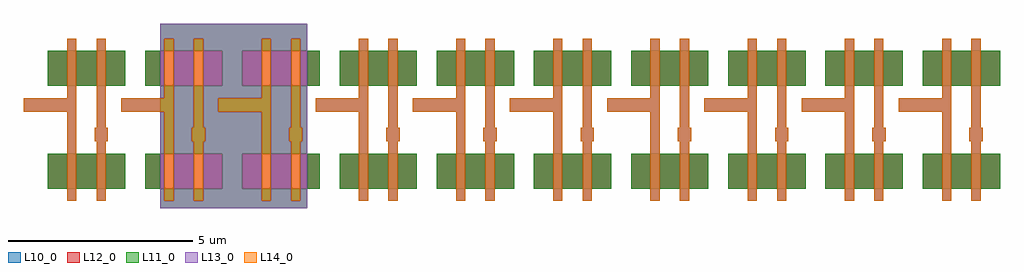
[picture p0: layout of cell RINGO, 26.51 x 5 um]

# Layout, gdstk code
import gdstk
lib = gdstk.Library(unit=1e-6, precision=1e-09)
def R(c, l, rs):  # rectangles x0, y0, x1, y1
    for r in rs: c.add(gdstk.rectangle(r[:2], r[2:], *l))
def A(c, l, x, y, w, h, nx, ny, dx, dy):  # array of equal rectangles
    R(c, l, [(x+i*dx, y+j*dy, x+i*dx+w, y+j*dy+h) for i in range(nx) for j in range(ny)])
def P(c, l, *ps):  # polygons
    for p in ps: c.add(gdstk.Polygon(p, *l))
L10_0 = (10, 0)
L11_0 = (11, 0)
L12_0 = (12, 0)
L13_0 = (13, 0)
L14_0 = (14, 0)

trans = lib.new_cell('TRANS')
R(trans, L10_0, [(-0.125,-0.8,0.125,-0.475), (-0.65,-0.475,-0.125,0.475), (0.125,-0.475,0.65,0.475), (-0.125,0.475,0.125,0.8)])
R(trans, L12_0, [(-0.65,-0.475,0.65,0.475)])
R(trans, L14_0, [(-0.125,-0.8,0.125,0.8)])

inv2 = lib.new_cell('INV2')
R(inv2, L10_0, [(-0.525,0.475,-0.275,2.25), (0.275,0.475,0.525,2.25), (0.22,0.82,0.58,1.18), (-1.7,1.62,-0.4,1.98)])
R(inv2, L14_0, [(-0.525,-0.25,-0.275,2.25), (0.275,-0.25,0.525,2.25), (0.22,0.82,0.58,1.18), (-1.7,1.62,-0.4,1.98)])
inv2.add(gdstk.Reference(trans, (-0.4,0)))
inv2.add(gdstk.Reference(trans, (-0.4,2.8)))
inv2.add(gdstk.Reference(trans, (0.4,0), x_reflection=True))
inv2.add(gdstk.Reference(trans, (0.4,2.8), x_reflection=True))

ringo = lib.new_cell('RINGO')
A(ringo, L11_0, 6.87, -0.475, 2.1, 0.95, 7, 2, 2.64, 2.8)
R(ringo, L11_0, [(-1.05,-0.475,1.05,0.475), (-1.05,2.325,1.05,3.275)])
P(ringo, L11_0, [(2,-1),(2,-0.475),(1.59,-0.475),(1.59,0.475),(2,0.475),(2,-0.475),(3.69,-0.475),(3.69,0.475),(4.23,0.475),(4.23,-0.475),(6,-0.475),(6,0.475),(2,0.475),(2,2.325),(1.59,2.325),(1.59,3.275),(2,3.275),(2,2.325),(3.69,2.325),(3.69,3.275),(4.23,3.275),(4.23,2.325),(6,2.325),(6,3.275),(2,3.275),(2,4),(6,4),(6,3.275),(6.33,3.275),(6.33,2.325),(6,2.325),(6,0.475),(6.33,0.475),(6.33,-0.475),(6,-0.475),(6,-1)])
P(ringo, L13_0, [(-0.525,-0.8),(-0.525,1.62),(-1.7,1.62),(-1.7,1.98),(-0.525,1.98),(-0.525,3.6),(-0.275,3.6),(-0.275,-0.8)],
  [(0.275,-0.8),(0.275,0.82),(0.22,0.82),(0.22,1.18),(0.275,1.18),(0.275,3.6),(0.525,3.6),(0.525,1.18),(0.58,1.18),(0.58,0.82),(0.525,0.82),(0.525,-0.8)],
  [(7.395,-0.8),(7.395,1.62),(6.22,1.62),(6.22,1.98),(7.395,1.98),(7.395,3.6),(7.645,3.6),(7.645,-0.8)],
  [(8.195,-0.8),(8.195,0.82),(8.14,0.82),(8.14,1.18),(8.195,1.18),(8.195,3.6),(8.445,3.6),(8.445,1.18),(8.5,1.18),(8.5,0.82),(8.445,0.82),(8.445,-0.8)],
  [(10.035,-0.8),(10.035,1.62),(8.86,1.62),(8.86,1.98),(10.035,1.98),(10.035,3.6),(10.285,3.6),(10.285,-0.8)],
  [(10.835,-0.8),(10.835,0.82),(10.78,0.82),(10.78,1.18),(10.835,1.18),(10.835,3.6),(11.085,3.6),(11.085,1.18),(11.14,1.18),(11.14,0.82),(11.085,0.82),(11.085,-0.8)],
  [(12.675,-0.8),(12.675,1.62),(11.5,1.62),(11.5,1.98),(12.675,1.98),(12.675,3.6),(12.925,3.6),(12.925,-0.8)],
  [(13.475,-0.8),(13.475,0.82),(13.42,0.82),(13.42,1.18),(13.475,1.18),(13.475,3.6),(13.725,3.6),(13.725,1.18),(13.78,1.18),(13.78,0.82),(13.725,0.82),(13.725,-0.8)],
  [(15.315,-0.8),(15.315,1.62),(14.14,1.62),(14.14,1.98),(15.315,1.98),(15.315,3.6),(15.565,3.6),(15.565,-0.8)],
  [(16.115,-0.8),(16.115,0.82),(16.06,0.82),(16.06,1.18),(16.115,1.18),(16.115,3.6),(16.365,3.6),(16.365,1.18),(16.42,1.18),(16.42,0.82),(16.365,0.82),(16.365,-0.8)],
  [(17.955,-0.8),(17.955,1.62),(16.78,1.62),(16.78,1.98),(17.955,1.98),(17.955,3.6),(18.205,3.6),(18.205,-0.8)],
  [(18.755,-0.8),(18.755,0.82),(18.7,0.82),(18.7,1.18),(18.755,1.18),(18.755,3.6),(19.005,3.6),(19.005,1.18),(19.06,1.18),(19.06,0.82),(19.005,0.82),(19.005,-0.8)],
  [(20.595,-0.8),(20.595,1.62),(19.42,1.62),(19.42,1.98),(20.595,1.98),(20.595,3.6),(20.845,3.6),(20.845,-0.8)],
  [(21.395,-0.8),(21.395,0.82),(21.34,0.82),(21.34,1.18),(21.395,1.18),(21.395,3.6),(21.645,3.6),(21.645,1.18),(21.7,1.18),(21.7,0.82),(21.645,0.82),(21.645,-0.8)],
  [(23.235,-0.8),(23.235,1.62),(22.06,1.62),(22.06,1.98),(23.235,1.98),(23.235,3.6),(23.485,3.6),(23.485,-0.8)],
  [(24.035,-0.8),(24.035,0.82),(23.98,0.82),(23.98,1.18),(24.035,1.18),(24.035,3.6),(24.285,3.6),(24.285,1.18),(24.34,1.18),(24.34,0.82),(24.285,0.82),(24.285,-0.8)],
  [(2,-1),(2,1.62),(0.94,1.62),(0.94,1.98),(2,1.98),(2,3.6),(2.115,3.6),(2.115,1.98),(2,1.98),(2,1.62),(2.115,1.62),(2.115,-0.8),(2.365,-0.8),(2.365,3.6),(2.915,3.6),(2.915,1.18),(2.86,1.18),(2.86,0.82),(2.915,0.82),(2.915,-0.8),(3.165,-0.8),(3.165,0.82),(3.22,0.82),(3.22,1.18),(3.165,1.18),(3.165,3.6),(4.755,3.6),(4.755,1.98),(3.58,1.98),(3.58,1.62),(4.755,1.62),(4.755,-0.8),(5.005,-0.8),(5.005,3.6),(5.555,3.6),(5.555,1.18),(5.5,1.18),(5.5,0.82),(5.555,0.82),(5.555,-0.8),(5.805,-0.8),(5.805,0.82),(5.86,0.82),(5.86,1.18),(5.805,1.18),(5.805,3.6),(2,3.6),(2,4),(6,4),(6,-1)])
ringo.add(gdstk.Reference(inv2, (0,0)))
ringo.add(gdstk.Reference(inv2, (2.64,0)))
ringo.add(gdstk.Reference(inv2, (5.28,0)))
ringo.add(gdstk.Reference(inv2, (7.92,0)))
ringo.add(gdstk.Reference(inv2, (10.56,0)))
ringo.add(gdstk.Reference(inv2, (13.2,0)))
ringo.add(gdstk.Reference(inv2, (15.84,0)))
ringo.add(gdstk.Reference(inv2, (18.48,0)))
ringo.add(gdstk.Reference(inv2, (21.12,0)))
ringo.add(gdstk.Reference(inv2, (23.76,0)))

lib.write_gds('RINGO.gds')
